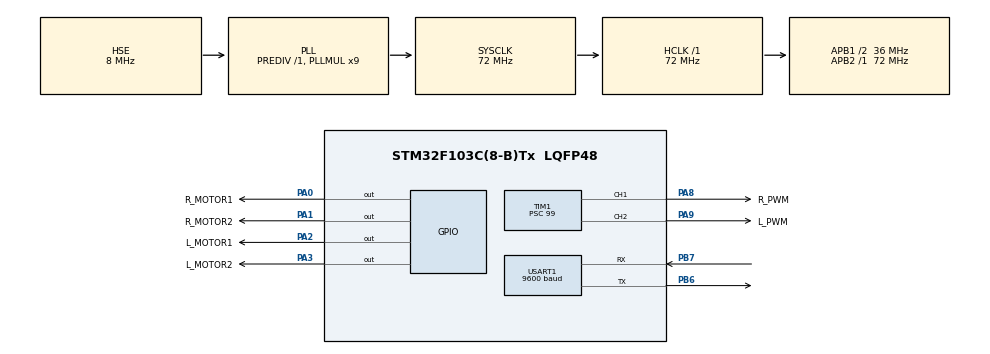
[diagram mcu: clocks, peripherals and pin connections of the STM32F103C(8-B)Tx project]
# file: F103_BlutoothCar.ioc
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Mcu.Family=STM32F1
Mcu.Name=STM32F103C(8-B)Tx
Mcu.Package=LQFP48
NVIC.PriorityGroup=NVIC_PRIORITYGROUP_4
NVIC.USART1_IRQn=true\:0\:0\:false\:false\:true\:true\:true\:true
PA0-WKUP.GPIO_Label=R_MOTOR1
PA0-WKUP.Signal=GPIO_Output
PA1.GPIO_Label=R_MOTOR2
PA1.Signal=GPIO_Output
PA13.Mode=Serial_Wire
PA13.Signal=SYS_JTMS-SWDIO
PA14.Mode=Serial_Wire
PA14.Signal=SYS_JTCK-SWCLK
PA2.GPIO_Label=L_MOTOR1
PA2.Signal=GPIO_Output
PA3.GPIO_Label=L_MOTOR2
PA3.Signal=GPIO_Output
PA8.GPIO_Label=R_PWM
PA8.Signal=S_TIM1_CH1
PA9.GPIO_Label=L_PWM
PA9.Signal=S_TIM1_CH2
PB6.Mode=Asynchronous
PB6.Signal=USART1_TX
PB7.Mode=Asynchronous
PB7.Signal=USART1_RX
PD0-OSC_IN.Mode=HSE-External-Oscillator
PD0-OSC_IN.Signal=RCC_OSC_IN
PD1-OSC_OUT.Mode=HSE-External-Oscillator
PD1-OSC_OUT.Signal=RCC_OSC_OUT
ProjectManager.HeapSize=0x200
ProjectManager.StackSize=0x400
ProjectManager.TargetToolchain=STM32CubeIDE
RCC.AHBFreq_Value=72000000
RCC.APB1CLKDivider=RCC_HCLK_DIV2
RCC.APB1Freq_Value=36000000
RCC.APB1TimFreq_Value=72000000
RCC.APB2Freq_Value=72000000
RCC.APB2TimFreq_Value=72000000
RCC.HCLKFreq_Value=72000000
RCC.PLLMUL=RCC_PLL_MUL9
RCC.PLLSourceVirtual=RCC_PLLSOURCE_HSE
RCC.SYSCLKFreq_VALUE=72000000
RCC.SYSCLKSource=RCC_SYSCLKSOURCE_PLLCLK
RCC.USBFreq_Value=72000000
SH.S_TIM1_CH1.0=TIM1_CH1,PWM Generation1 CH1
SH.S_TIM1_CH2.0=TIM1_CH2,PWM Generation2 CH2
TIM1.AutoReloadPreload=TIM_AUTORELOAD_PRELOAD_ENABLE
TIM1.Channel-PWM\ Generation1\ CH1=TIM_CHANNEL_1
TIM1.Channel-PWM\ Generation2\ CH2=TIM_CHANNEL_2
TIM1.Prescaler=99
USART1.BaudRate=9600
USART1.VirtualMode=VM_ASYNC
board=custom

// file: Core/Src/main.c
/* USER CODE BEGIN Header */
/*
 * Command List:
 *
 * 'F'->Forward
 * 'B'->Back
 * 'R'->Right
 * 'L'->Left
 * 'S'->Stop
 * '1' ->%10 PWM
 * '2' ->%20 PWM
 * '3' ->%30 PWM
 * '4' ->%40 PWM
 * '5' ->%50 PWM
 * '6' ->%60 PWM
 * '7' ->%70 PWM
 * '8' ->%80 PWM
 * '9' ->%90 PWM
 * 'q' ->%100 PWM
 *
 * Connection List:
 *
 * PA0-> Right motor forward
 * PA1-> Right motor back
 * PA2-> Left motor forward
 * PA3-> Left motor back
 *
 * PA8-> Right motor forward
 * PA9-> Left motor PWM
 *
 * PB7-> Blutooth TX
 * PB8-> Blutooth RX
 *
 *
 *
 */
/**
  ******************************************************************************
  * @file           : main.c
  * @brief          : Main program body
  ******************************************************************************
  * @attention
  *
  * Copyright (c) 2025 STMicroelectronics.
  * All rights reserved.
  *
  * This software is licensed under terms that can be found in the LICENSE file
  * in the root directory of this software component.
  * If no LICENSE file comes with this software, it is provided AS-IS.
  *
  ******************************************************************************
  */
/* USER CODE END Header */
#include "main.h"

/* USER CODE BEGIN Includes */
uint8_t data;
/* USER CODE END Includes */

TIM_HandleTypeDef htim1;

UART_HandleTypeDef huart1;

void SystemClock_Config(void);
static void MX_GPIO_Init(void);
static void MX_TIM1_Init(void);
static void MX_USART1_UART_Init(void);

int main(void)
{

  /* MCU Configuration--------------------------------------------------------*/

  /* Reset of all peripherals, Initializes the Flash interface and the Systick. */
  HAL_Init();

  /* Configure the system clock */
  SystemClock_Config();

  /* Initialize all configured peripherals */
  MX_GPIO_Init();
  MX_TIM1_Init();
  MX_USART1_UART_Init();
  /* USER CODE BEGIN 2 */
  HAL_TIM_PWM_Start(&htim1, TIM_CHANNEL_1);
  HAL_TIM_PWM_Start(&htim1, TIM_CHANNEL_2);
  /* USER CODE END 2 */

  /* Infinite loop */
  while (1)
  {

    /* USER CODE BEGIN 3 */

	  if (HAL_UART_Receive(&huart1, &data, 8, 100) == HAL_OK){
		  if(data=='1'){
			__HAL_TIM_SET_COMPARE(&htim1,TIM_CHANNEL_1,10);
			__HAL_TIM_SET_COMPARE(&htim1,TIM_CHANNEL_2,10);
		  }
		  else if(data=='2'){
			__HAL_TIM_SET_COMPARE(&htim1,TIM_CHANNEL_1,20);
			__HAL_TIM_SET_COMPARE(&htim1,TIM_CHANNEL_2,20);
			  }
		  else if(data=='3'){
			__HAL_TIM_SET_COMPARE(&htim1,TIM_CHANNEL_1,30);
			__HAL_TIM_SET_COMPARE(&htim1,TIM_CHANNEL_2,30);
			  }
		  else if(data=='4'){
			__HAL_TIM_SET_COMPARE(&htim1,TIM_CHANNEL_1,40);
			__HAL_TIM_SET_COMPARE(&htim1,TIM_CHANNEL_2,40);
			  }
		  else if(data=='5'){
			__HAL_TIM_SET_COMPARE(&htim1,TIM_CHANNEL_1,50);
			__HAL_TIM_SET_COMPARE(&htim1,TIM_CHANNEL_2,50);
			  }
		  else if(data=='6'){
			__HAL_TIM_SET_COMPARE(&htim1,TIM_CHANNEL_1,60);
			__HAL_TIM_SET_COMPARE(&htim1,TIM_CHANNEL_2,60);
			  }
		  else if(data=='7'){
			__HAL_TIM_SET_COMPARE(&htim1,TIM_CHANNEL_1,70);
			__HAL_TIM_SET_COMPARE(&htim1,TIM_CHANNEL_2,70);
			  }
		  else if(data=='8'){
			__HAL_TIM_SET_COMPARE(&htim1,TIM_CHANNEL_1,80);
			__HAL_TIM_SET_COMPARE(&htim1,TIM_CHANNEL_2,80);
			  }
		  else if(data=='9'){
			__HAL_TIM_SET_COMPARE(&htim1,TIM_CHANNEL_1,90);
			__HAL_TIM_SET_COMPARE(&htim1,TIM_CHANNEL_2,90);
			  }
		  else if(data=='q'){
			__HAL_TIM_SET_COMPARE(&htim1,TIM_CHANNEL_1,100);
			__HAL_TIM_SET_COMPARE(&htim1,TIM_CHANNEL_2,100);
			  }

		  if (data=='F'){
			  HAL_GPIO_WritePin(GPIOA, GPIO_PIN_0, GPIO_PIN_SET);
			  HAL_GPIO_WritePin(GPIOA, GPIO_PIN_1, GPIO_PIN_RESET);
			  HAL_GPIO_WritePin(GPIOA, GPIO_PIN_2, GPIO_PIN_SET);
			  HAL_GPIO_WritePin(GPIOA, GPIO_PIN_3, GPIO_PIN_RESET);
		  }
		  else if (data=='B'){
			  HAL_GPIO_WritePin(GPIOA, GPIO_PIN_0, GPIO_PIN_RESET);
			  HAL_GPIO_WritePin(GPIOA, GPIO_PIN_1, GPIO_PIN_SET);
			  HAL_GPIO_WritePin(GPIOA, GPIO_PIN_2, GPIO_PIN_RESET);
			  HAL_GPIO_WritePin(GPIOA, GPIO_PIN_3, GPIO_PIN_SET);
		  }
		  else if (data=='R'){
			  HAL_GPIO_WritePin(GPIOA, GPIO_PIN_0, GPIO_PIN_RESET);
			  HAL_GPIO_WritePin(GPIOA, GPIO_PIN_1, GPIO_PIN_SET);
			  HAL_GPIO_WritePin(GPIOA, GPIO_PIN_2, GPIO_PIN_SET);
			  HAL_GPIO_WritePin(GPIOA, GPIO_PIN_3, GPIO_PIN_RESET);
		  }
		  else if (data=='L'){
			  HAL_GPIO_WritePin(GPIOA, GPIO_PIN_0, GPIO_PIN_SET);
			  HAL_GPIO_WritePin(GPIOA, GPIO_PIN_1, GPIO_PIN_RESET);
			  HAL_GPIO_WritePin(GPIOA, GPIO_PIN_2, GPIO_PIN_RESET);
			  HAL_GPIO_WritePin(GPIOA, GPIO_PIN_3, GPIO_PIN_SET);
		  }
		  else if (data=='S'){
			  HAL_GPIO_WritePin(GPIOA, GPIO_PIN_0, GPIO_PIN_RESET);
			  HAL_GPIO_WritePin(GPIOA, GPIO_PIN_1, GPIO_PIN_RESET);
			  HAL_GPIO_WritePin(GPIOA, GPIO_PIN_2, GPIO_PIN_RESET);
			  HAL_GPIO_WritePin(GPIOA, GPIO_PIN_3, GPIO_PIN_RESET);
		  }}
	  else{
		  HAL_GPIO_WritePin(GPIOA, GPIO_PIN_0, GPIO_PIN_RESET);
		  HAL_GPIO_WritePin(GPIOA, GPIO_PIN_1, GPIO_PIN_RESET);
		  HAL_GPIO_WritePin(GPIOA, GPIO_PIN_2, GPIO_PIN_RESET);
		  HAL_GPIO_WritePin(GPIOA, GPIO_PIN_3, GPIO_PIN_RESET);
	  }
  }
  /* USER CODE END 3 */
}

void SystemClock_Config(void)
{
  RCC_OscInitTypeDef RCC_OscInitStruct = {0};
  RCC_ClkInitTypeDef RCC_ClkInitStruct = {0};

  /** Initializes the RCC Oscillators according to the specified parameters
  * in the RCC_OscInitTypeDef structure.
  */
  RCC_OscInitStruct.OscillatorType = RCC_OSCILLATORTYPE_HSE;
  RCC_OscInitStruct.HSEState = RCC_HSE_ON;
  RCC_OscInitStruct.HSEPredivValue = RCC_HSE_PREDIV_DIV1;
  RCC_OscInitStruct.HSIState = RCC_HSI_ON;
  RCC_OscInitStruct.PLL.PLLState = RCC_PLL_ON;
  RCC_OscInitStruct.PLL.PLLSource = RCC_PLLSOURCE_HSE;
  RCC_OscInitStruct.PLL.PLLMUL = RCC_PLL_MUL9;
  if (HAL_RCC_OscConfig(&RCC_OscInitStruct) != HAL_OK)
  {
    Error_Handler();
  }

  /** Initializes the CPU, AHB and APB buses clocks
  */
  RCC_ClkInitStruct.ClockType = RCC_CLOCKTYPE_HCLK|RCC_CLOCKTYPE_SYSCLK
                              |RCC_CLOCKTYPE_PCLK1|RCC_CLOCKTYPE_PCLK2;
  RCC_ClkInitStruct.SYSCLKSource = RCC_SYSCLKSOURCE_PLLCLK;
  RCC_ClkInitStruct.AHBCLKDivider = RCC_SYSCLK_DIV1;
  RCC_ClkInitStruct.APB1CLKDivider = RCC_HCLK_DIV2;
  RCC_ClkInitStruct.APB2CLKDivider = RCC_HCLK_DIV1;

  if (HAL_RCC_ClockConfig(&RCC_ClkInitStruct, FLASH_LATENCY_2) != HAL_OK)
  {
    Error_Handler();
  }
}

static void MX_TIM1_Init(void)
{

  TIM_MasterConfigTypeDef sMasterConfig = {0};
  TIM_OC_InitTypeDef sConfigOC = {0};
  TIM_BreakDeadTimeConfigTypeDef sBreakDeadTimeConfig = {0};

  htim1.Instance = TIM1;
  htim1.Init.Prescaler = 99;
  htim1.Init.CounterMode = TIM_COUNTERMODE_UP;
  htim1.Init.Period = 65535;
  htim1.Init.ClockDivision = TIM_CLOCKDIVISION_DIV1;
  htim1.Init.RepetitionCounter = 0;
  htim1.Init.AutoReloadPreload = TIM_AUTORELOAD_PRELOAD_ENABLE;
  if (HAL_TIM_PWM_Init(&htim1) != HAL_OK)
  {
    Error_Handler();
  }
  sMasterConfig.MasterOutputTrigger = TIM_TRGO_RESET;
  sMasterConfig.MasterSlaveMode = TIM_MASTERSLAVEMODE_DISABLE;
  if (HAL_TIMEx_MasterConfigSynchronization(&htim1, &sMasterConfig) != HAL_OK)
  {
    Error_Handler();
  }
  sConfigOC.OCMode = TIM_OCMODE_PWM1;
  sConfigOC.Pulse = 0;
  sConfigOC.OCPolarity = TIM_OCPOLARITY_HIGH;
  sConfigOC.OCNPolarity = TIM_OCNPOLARITY_HIGH;
  sConfigOC.OCFastMode = TIM_OCFAST_DISABLE;
  sConfigOC.OCIdleState = TIM_OCIDLESTATE_RESET;
  sConfigOC.OCNIdleState = TIM_OCNIDLESTATE_RESET;
  if (HAL_TIM_PWM_ConfigChannel(&htim1, &sConfigOC, TIM_CHANNEL_1) != HAL_OK)
  {
    Error_Handler();
  }
  if (HAL_TIM_PWM_ConfigChannel(&htim1, &sConfigOC, TIM_CHANNEL_2) != HAL_OK)
  {
    Error_Handler();
  }
  sBreakDeadTimeConfig.OffStateRunMode = TIM_OSSR_DISABLE;
  sBreakDeadTimeConfig.OffStateIDLEMode = TIM_OSSI_DISABLE;
  sBreakDeadTimeConfig.LockLevel = TIM_LOCKLEVEL_OFF;
  sBreakDeadTimeConfig.DeadTime = 0;
  sBreakDeadTimeConfig.BreakState = TIM_BREAK_DISABLE;
  sBreakDeadTimeConfig.BreakPolarity = TIM_BREAKPOLARITY_HIGH;
  sBreakDeadTimeConfig.AutomaticOutput = TIM_AUTOMATICOUTPUT_DISABLE;
  if (HAL_TIMEx_ConfigBreakDeadTime(&htim1, &sBreakDeadTimeConfig) != HAL_OK)
  {
    Error_Handler();
  }
  HAL_TIM_MspPostInit(&htim1);

}

static void MX_USART1_UART_Init(void)
{

  huart1.Instance = USART1;
  huart1.Init.BaudRate = 9600;
  huart1.Init.WordLength = UART_WORDLENGTH_8B;
  huart1.Init.StopBits = UART_STOPBITS_1;
  huart1.Init.Parity = UART_PARITY_NONE;
  huart1.Init.Mode = UART_MODE_TX_RX;
  huart1.Init.HwFlowCtl = UART_HWCONTROL_NONE;
  huart1.Init.OverSampling = UART_OVERSAMPLING_16;
  if (HAL_UART_Init(&huart1) != HAL_OK)
  {
    Error_Handler();
  }

}

static void MX_GPIO_Init(void)
{
  GPIO_InitTypeDef GPIO_InitStruct = {0};

  /* GPIO Ports Clock Enable */
  __HAL_RCC_GPIOD_CLK_ENABLE();
  __HAL_RCC_GPIOA_CLK_ENABLE();
  __HAL_RCC_GPIOB_CLK_ENABLE();

  /*Configure GPIO pin Output Level */
  HAL_GPIO_WritePin(GPIOA, R_MOTOR1_Pin|R_MOTOR2_Pin|L_MOTOR1_Pin|L_MOTOR2_Pin, GPIO_PIN_RESET);

  /*Configure GPIO pins : R_MOTOR1_Pin R_MOTOR2_Pin L_MOTOR1_Pin L_MOTOR2_Pin */
  GPIO_InitStruct.Pin = R_MOTOR1_Pin|R_MOTOR2_Pin|L_MOTOR1_Pin|L_MOTOR2_Pin;
  GPIO_InitStruct.Mode = GPIO_MODE_OUTPUT_PP;
  GPIO_InitStruct.Pull = GPIO_NOPULL;
  GPIO_InitStruct.Speed = GPIO_SPEED_FREQ_LOW;
  HAL_GPIO_Init(GPIOA, &GPIO_InitStruct);

}

void Error_Handler(void)
{
  __disable_irq();
  while (1)
  {
  }
}
